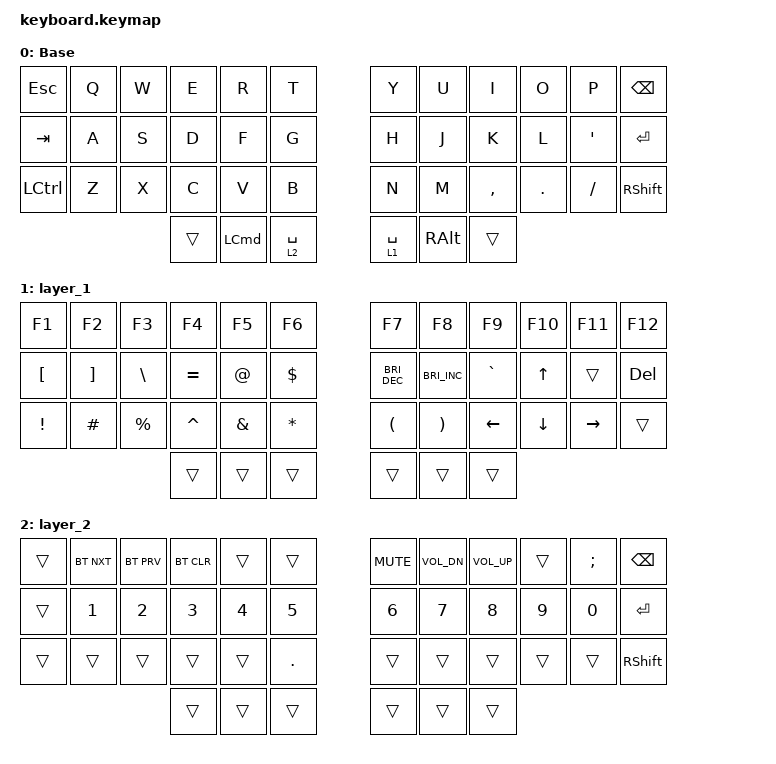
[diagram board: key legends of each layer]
#include <behaviors.dtsi>
#include <dt-bindings/zmk/bt.h>
#include <dt-bindings/zmk/keys.h>

/ {
    keymap {
        compatible = "zmk,keymap";

        Base {
            bindings = <
&kp ESC    &kp Q  &kp W  &kp E   &kp R             &kp T          &kp Y        &kp U          &kp I      &kp O       &kp P      &kp BACKSPACE
&kp TAB    &kp A  &kp S  &kp D   &kp F             &kp G          &kp H        &kp J          &kp K      &kp L       &kp SQT    &kp ENTER
&kp LCTRL  &kp Z  &kp X  &kp C   &kp V             &kp B          &kp N        &kp M          &kp COMMA  &kp PERIOD  &kp SLASH  &kp RIGHT_SHIFT
                         &trans  &kp LEFT_COMMAND  &lt 2 SPACE    &lt 1 SPACE  &kp RIGHT_ALT  &trans
            >;
        };

        layer_1 {
            bindings = <
&kp F1           &kp F2    &kp F3       &kp F4     &kp F5         &kp F6          &kp F7                &kp F8                 &kp F9          &kp F10       &kp F11          &kp F12
&kp LBKT         &kp RBKT  &kp BSLH     &kp EQUAL  &kp AT_SIGN    &kp DOLLAR      &kp C_BRIGHTNESS_DEC  &kp C_BRIGHTNESS_INC   &kp GRAVE       &kp UP_ARROW  &trans           &kp DELETE
&kp EXCLAMATION  &kp HASH  &kp PERCENT  &kp CARET  &kp AMPERSAND  &kp ASTERISK    &kp LEFT_PARENTHESIS  &kp RIGHT_PARENTHESIS  &kp LEFT_ARROW  &kp DOWN      &kp RIGHT_ARROW  &trans
                                        &trans     &trans         &trans          &trans                &trans                 &trans
            >;
        };

        layer_2 {
            bindings = <
&trans  &bt BT_NXT    &bt BT_PRV    &bt BT_CLR    &trans        &trans          &kp C_MUTE    &kp C_VOL_DN  &kp C_VOLUME_UP  &trans        &kp SEMICOLON  &kp BACKSPACE
&trans  &kp NUMBER_1  &kp NUMBER_2  &kp NUMBER_3  &kp NUMBER_4  &kp NUMBER_5    &kp NUMBER_6  &kp NUMBER_7  &kp NUMBER_8     &kp NUMBER_9  &kp NUMBER_0   &kp ENTER
&trans  &trans        &trans        &trans        &trans        &kp PERIOD      &trans        &trans        &trans           &trans        &trans         &kp RSHIFT
                                    &trans        &trans        &trans          &trans        &trans        &trans
            >;
        };
    };
};
